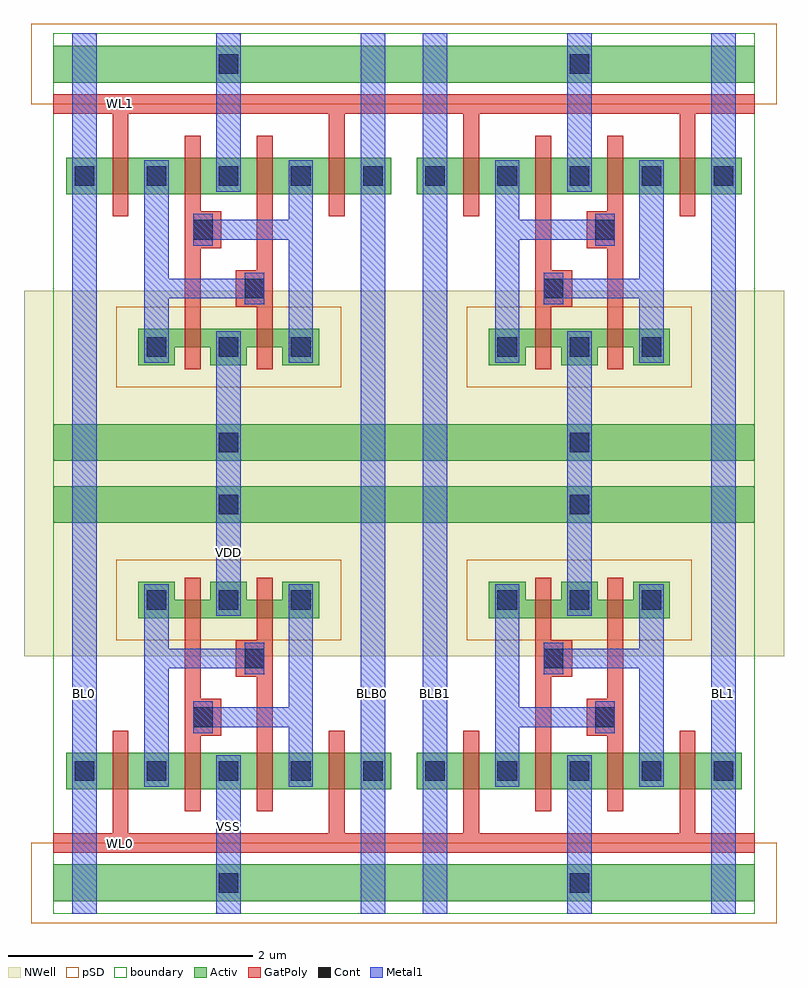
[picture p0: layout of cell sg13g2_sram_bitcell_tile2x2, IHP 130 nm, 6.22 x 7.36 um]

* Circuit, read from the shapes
.subckt sg13g2_sram_bitcell_tile2x2 BL0 BL1 BLB0 BLB1 VDD VSS WL0 WL1
XM1 n1 WL0 BL0 VSS sg13_lv_nmos w=0.3u l=0.13u
XM2 n2 WL1 BL0 VSS sg13_lv_nmos w=0.3u l=0.13u
XM3 VSS n3 n1 VSS sg13_lv_nmos w=0.3u l=0.13u
XM4 VSS n4 n2 VSS sg13_lv_nmos w=0.3u l=0.13u
XM5 n3 n1 VSS VSS sg13_lv_nmos w=0.3u l=0.13u
XM6 n4 n2 VSS VSS sg13_lv_nmos w=0.3u l=0.13u
XM7 BLB0 WL0 n3 VSS sg13_lv_nmos w=0.3u l=0.13u
XM8 BLB0 WL1 n4 VSS sg13_lv_nmos w=0.3u l=0.13u
XM9 n5 WL0 BLB1 VSS sg13_lv_nmos w=0.3u l=0.13u
XM10 n6 WL1 BLB1 VSS sg13_lv_nmos w=0.3u l=0.13u
XM11 VSS n7 n5 VSS sg13_lv_nmos w=0.3u l=0.13u
XM12 VSS n8 n6 VSS sg13_lv_nmos w=0.3u l=0.13u
XM13 n7 n5 VSS VSS sg13_lv_nmos w=0.3u l=0.13u
XM14 n8 n6 VSS VSS sg13_lv_nmos w=0.3u l=0.13u
XM15 BL1 WL0 n7 VSS sg13_lv_nmos w=0.3u l=0.13u
XM16 BL1 WL1 n8 VSS sg13_lv_nmos w=0.3u l=0.13u
XM17 VDD n3 n1 VDD sg13_lv_pmos w=0.15u l=0.13u
XM18 VDD n4 n2 VDD sg13_lv_pmos w=0.15u l=0.13u
XM19 n3 n1 VDD VDD sg13_lv_pmos w=0.15u l=0.13u
XM20 n4 n2 VDD VDD sg13_lv_pmos w=0.15u l=0.13u
XM21 VDD n7 n5 VDD sg13_lv_pmos w=0.15u l=0.13u
XM22 VDD n8 n6 VDD sg13_lv_pmos w=0.15u l=0.13u
XM23 n7 n5 VDD VDD sg13_lv_pmos w=0.15u l=0.13u
XM24 n8 n6 VDD VDD sg13_lv_pmos w=0.15u l=0.13u
.ends

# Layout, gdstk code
from math import pi, radians
import gdstk
lib = gdstk.Library(unit=1e-6, precision=1e-09)
def R(c, l, rs):  # rectangles x0, y0, x1, y1
    for r in rs: c.add(gdstk.rectangle(r[:2], r[2:], *l))
def A(c, l, x, y, w, h, nx, ny, dx, dy):  # array of equal rectangles
    R(c, l, [(x+i*dx, y+j*dy, x+i*dx+w, y+j*dy+h) for i in range(nx) for j in range(ny)])
def P(c, l, *ps):  # polygons
    for p in ps: c.add(gdstk.Polygon(p, *l))
Activ = (1, 0)
GatPoly = (5, 0)
Cont = (6, 0)
Metal1 = (8, 0)
pSD = (14, 0)
NWell = (31, 0)
boundary = (189, 4)

bitcell_leaf = lib.new_cell('bitcell_leaf')
R(bitcell_leaf, Activ, [(0,0.105,2.87,0.405), (0.105,1.02,2.765,1.32), (0,3.2,2.87,3.5)])
P(bitcell_leaf, Activ, [(0.695,2.42),(0.695,2.72),(0.995,2.72),(0.995,2.57),(1.285,2.57),(1.285,2.72),(1.585,2.72),(1.585,2.57),(1.875,2.57),(1.875,2.72),(2.175,2.72),(2.175,2.42)])
P(bitcell_leaf, GatPoly, [(0,0.5),(0,0.66),(0.485,0.66),(0.485,1.5),(0.615,1.5),(0.615,0.66),(2.255,0.66),(2.255,1.5),(2.385,1.5),(2.385,0.66),(2.87,0.66),(2.87,0.5)],
  [(1.075,0.84),(1.075,2.75),(1.205,2.75),(1.205,1.76),(1.375,1.76),(1.375,1.46),(1.205,1.46),(1.205,0.84)],
  [(1.665,0.84),(1.665,1.94),(1.495,1.94),(1.495,2.24),(1.665,2.24),(1.665,2.75),(1.795,2.75),(1.795,0.84)])
A(bitcell_leaf, Cont, 0.175, 1.09, 0.16, 0.16, 5, 1, 0.59, 0)
A(bitcell_leaf, Cont, 0.765, 2.49, 0.16, 0.16, 3, 1, 0.59, 0)
R(bitcell_leaf, Cont, [(1.355,0.175,1.515,0.335), (1.145,1.53,1.305,1.69), (1.565,2.01,1.725,2.17), (1.355,3.27,1.515,3.43)])
R(bitcell_leaf, Metal1, [(0.155,0,0.355,3.605), (1.335,0,1.535,1.3), (2.515,0,2.715,3.605), (1.335,2.44,1.535,3.605)])
P(bitcell_leaf, Metal1, [(0.745,1.04),(0.745,2.7),(0.945,2.7),(0.945,2.17),(1.565,2.17),(1.565,2.22),(1.725,2.22),(1.725,1.96),(1.565,1.96),(1.565,2.01),(0.945,2.01),(0.945,1.04)],
  [(1.925,1.04),(1.925,1.53),(1.305,1.53),(1.305,1.48),(1.145,1.48),(1.145,1.74),(1.305,1.74),(1.305,1.69),(1.925,1.69),(1.925,2.7),(2.125,2.7),(2.125,1.04)])
R(bitcell_leaf, pSD, [(-0.18,-0.075,3.05,0.585), (0.515,2.24,2.355,2.9)])
R(bitcell_leaf, NWell, [(-0.24,2.11,3.11,3.74)])
R(bitcell_leaf, boundary, [(0,0,2.87,3.605)])

sg13g2_sram_bitcell_tile = lib.new_cell('sg13g2_sram_bitcell_tile2x2')
sg13g2_sram_bitcell_tile.add(gdstk.Reference(bitcell_leaf, (0,0)))
sg13g2_sram_bitcell_tile.add(gdstk.Reference(bitcell_leaf, (5.74,0), rotation=pi, x_reflection=True))
sg13g2_sram_bitcell_tile.add(gdstk.Reference(bitcell_leaf, (0,7.21), x_reflection=True))
sg13g2_sram_bitcell_tile.add(gdstk.Reference(bitcell_leaf, (5.74,7.21), rotation=pi))
sg13g2_sram_bitcell_tile.add(gdstk.Label('VSS', (1.435,0.712), layer=8, texttype=25))
sg13g2_sram_bitcell_tile.add(gdstk.Label('VDD', (1.435,2.96), layer=8, texttype=25))
sg13g2_sram_bitcell_tile.add(gdstk.Label('BL0', (0.255,1.802), layer=8, texttype=25))
sg13g2_sram_bitcell_tile.add(gdstk.Label('BLB0', (2.615,1.802), layer=8, texttype=25))
sg13g2_sram_bitcell_tile.add(gdstk.Label('BL1', (5.485,1.802), layer=8, texttype=25))
sg13g2_sram_bitcell_tile.add(gdstk.Label('BLB1', (3.125,1.802), layer=8, texttype=25))
sg13g2_sram_bitcell_tile.add(gdstk.Label('WL0', (0.55,0.58), layer=5, texttype=1))
sg13g2_sram_bitcell_tile.add(gdstk.Label('WL1', (0.55,6.63), layer=5, texttype=1))

lib.write_gds('sg13g2_sram_bitcell_tile2x2.gds')
